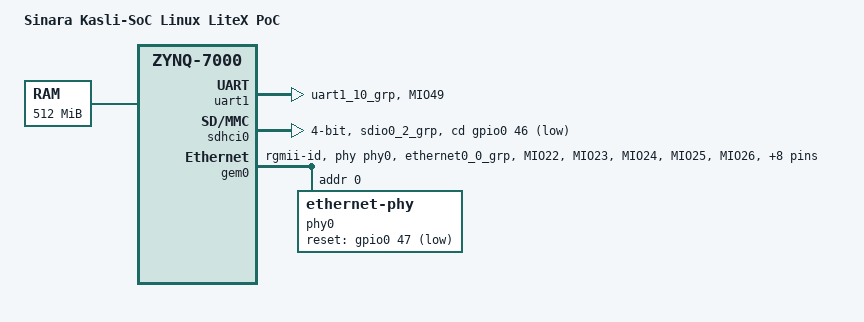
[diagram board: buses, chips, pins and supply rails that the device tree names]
// SPDX-License-Identifier: GPL-2.0-only
/dts-v1/;
#include "zynq-7000.dtsi"
#include <dt-bindings/gpio/gpio.h>

/ {
    model = "Sinara Kasli-SoC Linux LiteX PoC";
    compatible = "sinara,kasli-soc", "xlnx,zynq-7000";
    aliases { serial0 = &uart1; ethernet0 = &gem0; mmc0 = &sdhci0; };
    chosen { stdout-path = "serial0:115200n8"; };
    memory@0 { device_type = "memory"; reg = <0 0x20000000>; };
    litex@40000000 {
        compatible = "generic-uio";
        reg = <0x40000000 0x10000>;
        clocks = <&clkc 15>;
        clock-names = "fclk0";
        assigned-clocks = <&clkc 15>;
        assigned-clock-rates = <100000000>;
    };
};

&clkc { ps-clk-frequency = <33333333>; };
&uart1 {
    status = "okay";
    pinctrl-names = "default";
    pinctrl-0 = <&uart1_pins>;
};
&sdhci0 {
    status = "okay";
    bus-width = <4>;
    disable-wp;
    cd-gpios = <&gpio0 46 GPIO_ACTIVE_LOW>;
    pinctrl-names = "default";
    pinctrl-0 = <&sd0_pins>;
};
&gem0 {
    status = "okay";
    phy-mode = "rgmii-id";
    pinctrl-names = "default";
    pinctrl-0 = <&gem0_pins>;
    phy-handle = <&phy0>;
    // PHY address 0 is provisional until strap/hardware confirmation.
    phy0: ethernet-phy@0 {
        reg = <0>;
        reset-gpios = <&gpio0 47 GPIO_ACTIVE_LOW>;
        reset-assert-us = <10000>;
        reset-deassert-us = <10000>;
    };
};
&pinctrl0 {
    uart1_pins: uart1-default {
        mux { groups = "uart1_10_grp"; function = "uart1"; };
        conf { groups = "uart1_10_grp"; power-source = <1>; bias-pull-up; };
        rx { pins = "MIO49"; bias-high-impedance; };
    };
    sd0_pins: sd0-default {
        mux { groups = "sdio0_2_grp"; function = "sdio0"; };
        conf { groups = "sdio0_2_grp"; power-source = <1>; slew-rate = <0>; bias-disable; };
    };
    gem0_pins: gem0-default {
        mux { groups = "ethernet0_0_grp"; function = "ethernet0"; };
        conf { groups = "ethernet0_0_grp"; power-source = <4>; slew-rate = <0>; bias-pull-up; };
        rx { pins = "MIO22", "MIO23", "MIO24", "MIO25", "MIO26", "MIO27";
             bias-high-impedance; low-power-disable; };
        tx { pins = "MIO16", "MIO17", "MIO18", "MIO19", "MIO20", "MIO21";
             low-power-enable; };
        mdio { groups = "mdio0_0_grp"; function = "mdio0"; };
        mdio_conf { groups = "mdio0_0_grp"; power-source = <1>; bias-pull-up; };
    };
};
